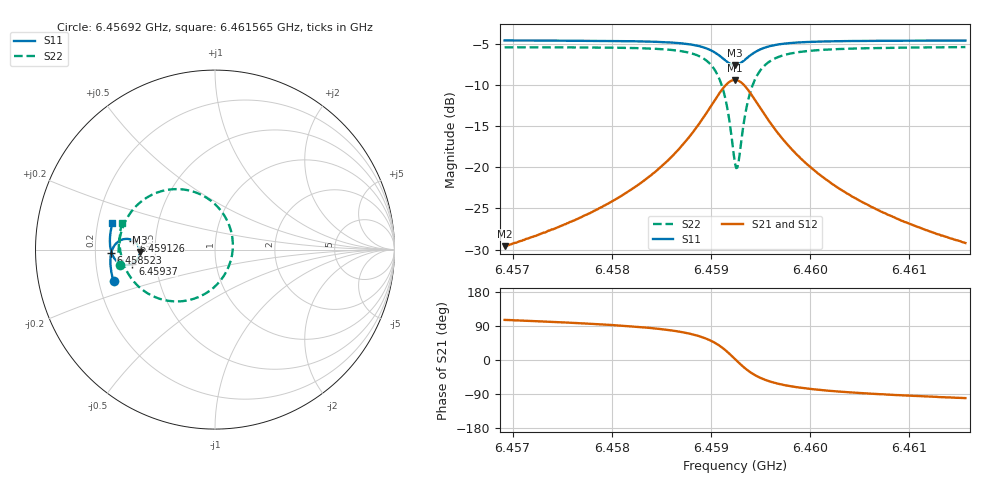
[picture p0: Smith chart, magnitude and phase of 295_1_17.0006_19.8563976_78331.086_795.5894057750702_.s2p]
#  HZ  S  RI  R  50.00
! Rohde & Schwarz Vector Network Analyzer
! Rohde-Schwarz,ZNB20-2Port,1311601062101988,3.16
! Created: UTC 3/20/2024, 11:05:15 PM
! freq[Hz]  re:S11  im:S11  re:S21  im:S21  re:S12  im:S12  re:S22  im:S22
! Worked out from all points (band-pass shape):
!   401 points, 6.45692 GHz to 6.461565 GHz, reference 50 ohm
!   highest |S21| = -9.35 dB at 6.459243 GHz (marker M1); lowest = -29.6 dB at 6.45692 GHz (marker M2)
!   |S21| within 3 dB of the highest: 6.45901 GHz to 6.459474 GHz (464.3 kHz wide, 0.00719 % of centre)
!   lowest |S11| = -7.6 dB at 6.459243 GHz (marker M3), VSWR 2.44, Z = 20.5 - j0.639 ohm
!   |S11| at or under -10 dB: nowhere
!   |S22| runs from -20.1 to -5.4 dB; largest |S21 - S12| = 0.013
!   S11 on the Smith chart (normalised r, x): 6.45692 GHz: 0.26, -0.14; 6.458523 GHz: 0.27, -0.01; 6.459126 GHz: 0.37, +0.05; 6.45937 GHz: 0.37, -0.07; 6.461565 GHz: 0.26, +0.12
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6.4569204e9  -0.5652 -0.1769  -0.00903 0.0319  -0.00734 0.0319  -0.531 -0.0869
6.4576983e9  -0.5798 -0.1091  -0.00579 0.0496  -0.00341 0.0491  -0.537 0.00295
6.4581395e9  -0.5831 -0.065  0.000364 0.0696  0.00342 0.0684  -0.5288 0.0721
6.4584763e9  -0.5797 -0.0249  0.0135 0.0975  0.0174 0.0948  -0.5046 0.1467
6.4585227e9  -0.5784 -0.0186  0.0168 0.1029  0.0209 0.0999  -0.4984 0.1597
6.4587317e9  -0.5662 0.0132  0.0426 0.1343  0.0468 0.1296  -0.4505 0.2304
6.4588826e9  -0.5451 0.0398  0.0847 0.1643  0.0881 0.158  -0.373 0.2938
6.4590336e9  -0.4993 0.0596  0.1757 0.1833  0.1766 0.1759  -0.208 0.3371
6.4591265e9  -0.4549 0.0497  0.2645 0.1525  0.2648 0.1465  -0.0446 0.2876
6.4591729e9  -0.4338 0.0308  0.3077 0.1103  0.3087 0.1049  0.0365 0.2126
6.4592426e9  -0.419 -0.0129  0.3405 0.0147  0.3438 0.0077  0.0994 0.0362
6.4592542e9  -0.4195 -0.0208  0.3402 -0.00293  0.3437 -0.0105  0.099 0.00338
6.4592774e9  -0.4229 -0.0362  0.3346 -0.0371  0.3382 -0.0461  0.0879 -0.0609
6.4593355e9  -0.4436 -0.0671  0.297 -0.1081  0.2982 -0.1203  0.012 -0.1932
6.4593703e9  -0.4603 -0.0782  0.2653 -0.1366  0.2643 -0.1494  -0.0518 -0.2441
6.4594632e9  -0.5033 -0.085  0.182 -0.1673  0.1758 -0.1785  -0.2166 -0.2889
6.4596141e9  -0.5467 -0.0646  0.0953 -0.154  0.0869 -0.16  -0.3803 -0.2406
6.4597767e9  -0.5683 -0.0372  0.0511 -0.1267  0.0435 -0.1293  -0.459 -0.1701
6.4600205e9  -0.581 -0.00157  0.0223 -0.0956  0.0165 -0.0963  -0.506 -0.089
6.4603804e9  -0.5858 0.0407  0.00599 -0.0687  0.00213 -0.0682  -0.5273 -0.00889
6.4607984e9  -0.5838 0.0825  -0.00134 -0.0512  -0.0041 -0.0503  -0.5311 0.0566
6.4615647e9  -0.5717 0.1503  -0.00635 -0.0341  -0.0081 -0.0331  -0.5196 0.1459
